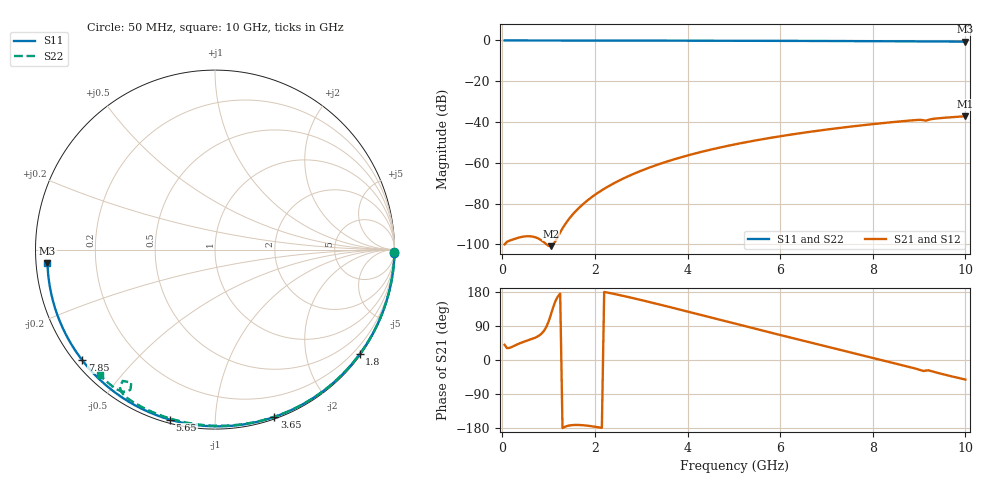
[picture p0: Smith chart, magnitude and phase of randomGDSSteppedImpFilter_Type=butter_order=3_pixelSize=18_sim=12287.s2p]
! freq	dB(S11)	phase(S11)	dB(S12)	phase(S12)
!  dB(S21)	phase(S21)	dB(S22)	phase(S22)
!S-par simulation data
#  GHz  S  DB  R 50
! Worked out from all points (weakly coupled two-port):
!   200 points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, 50 MHz to 10 GHz, reference 50 ohm
!   highest |S21| = -37.15 dB at 10 GHz (marker M1); lowest = -100.9 dB at 1.05 GHz (marker M2)
!   lowest |S11| = -0.6 dB at 10 GHz (marker M3), VSWR 30.48, Z = 1.64 - j2.03 ohm
!   |S11| at or under -10 dB: nowhere
!   |S22| runs from -1.2 to 0.0 dB; largest |S21 - S12| = 0
!   S11 on the Smith chart (normalised r, x): 50 MHz: open; 1.8 GHz: 0.03, -3.09; 3.65 GHz: 0.02, -1.41; 5.65 GHz: 0.02, -0.77; 7.85 GHz: 0.02, -0.36; 10 GHz: 0.03, -0.04
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0.05  -0.00 -1.0  -100.01 40.0  -100.01 40.0  -0.00 -0.8
1.05  -0.03 -21.1  -100.86 120.0  -100.86 120.0  -0.02 -16.0
1.75  -0.04 -34.9  -80.11 -172.2  -80.11 -172.2  -0.03 -26.5
1.8  -0.05 -35.9  -79.15 -172.8  -79.15 -172.8  -0.03 -27.3
2.1  -0.05 -41.7  -74.16 -178.1  -74.16 -178.1  -0.04 -31.7
2.5  -0.06 -49.3  -68.96 172.2  -68.96 172.2  -0.05 -37.5
2.9  -0.07 -56.8  -64.79 161.1  -64.79 161.1  -0.06 -43.3
3.4  -0.09 -66.0  -60.53 146.3  -60.53 146.3  -0.07 -50.5
3.65  -0.10 -70.5  -58.70 138.7  -58.70 138.7  -0.07 -54.0
4.35  -0.12 -82.9  -54.34 117.0  -54.34 117.0  -0.09 -63.6
5.05  -0.15 -94.9  -50.82 95.3  -50.82 95.3  -0.11 -73.0
5.65  -0.17 -104.9  -48.29 76.8  -48.29 76.8  -0.13 -80.9
6.7  -0.24 -121.9  -44.61 44.7  -44.61 44.7  -0.18 -94.1
7.85  -0.33 -140.2  -41.39 10.1  -41.39 10.1  -0.25 -108.2
8.35  -0.38 -148.2  -40.21 -4.9  -40.21 -4.9  -0.29 -114.2
8.9  -0.44 -157.1  -39.08 -21.9  -39.08 -21.9  -0.37 -121.6
9.05  -0.45 -159.5  -38.96 -27.5  -38.96 -27.5  -0.62 -124.7
9.1  -0.46 -160.3  -39.15 -29.1  -39.15 -29.1  -0.97 -125.1
9.15  -0.46 -161.1  -39.33 -27.9  -39.33 -27.9  -1.15 -122.2
9.2  -0.47 -161.9  -38.94 -27.2  -38.94 -27.2  -0.80 -121.1
9.3  -0.48 -163.6  -38.43 -30.5  -38.43 -30.5  -0.50 -123.0
10  -0.57 -175.3  -37.15 -51.7  -37.15 -51.7  -0.46 -132.4
